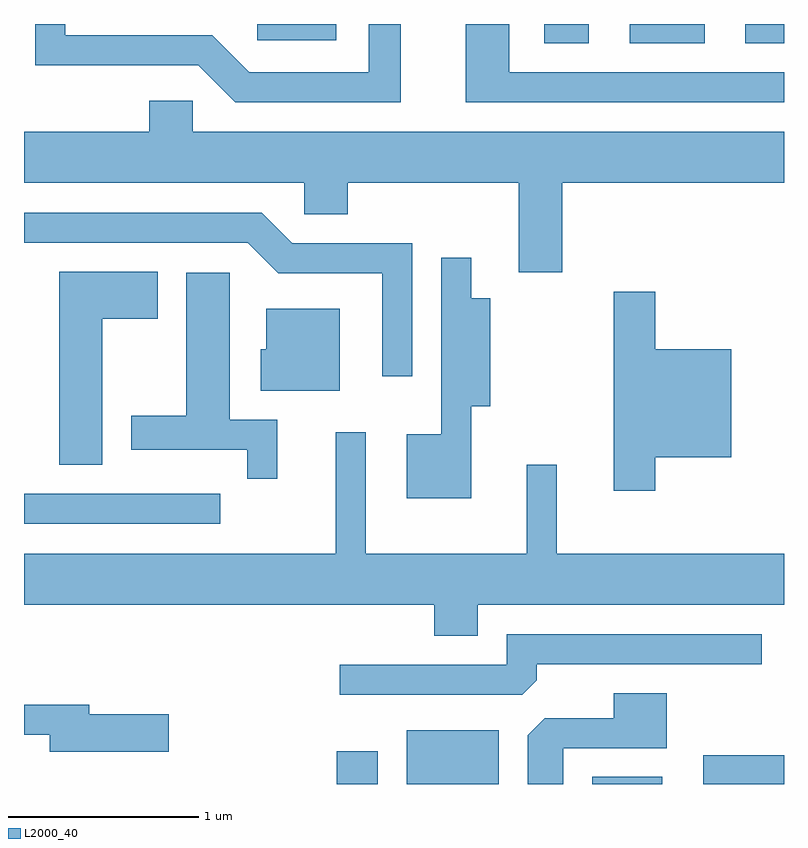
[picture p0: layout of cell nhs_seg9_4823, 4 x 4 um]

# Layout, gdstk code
import gdstk
lib = gdstk.Library(unit=1e-6, precision=1e-09)
def R(c, l, rs):  # rectangles x0, y0, x1, y1
    for r in rs: c.add(gdstk.rectangle(r[:2], r[2:], *l))
def P(c, l, *ps):  # polygons
    for p in ps: c.add(gdstk.Polygon(p, *l))
L2000_40 = (2000, 40)

nhs_seg9_4823 = lib.new_cell('nhs_seg9_4823')
R(nhs_seg9_4823, L2000_40, [(329.256,1986.432,329.474,1986.604), (329.626,1986.432,330.109,1986.714), (330.601,1986.432,330.969,1986.469), (331.186,1986.432,331.611,1986.584), (327.611,1987.801,328.643,1987.959), (330.348,1990.331,330.584,1990.432), (330.798,1990.331,331.194,1990.432), (331.406,1990.331,331.611,1990.432), (328.838,1990.346,329.254,1990.432)])
P(nhs_seg9_4823, L2000_40, [(331.611,1990.179),(330.164,1990.179),(330.164,1990.432),(329.936,1990.432),(329.936,1990.021),(331.611,1990.021)],
  [(329.594,1990.432),(329.426,1990.432),(329.426,1990.179),(328.797,1990.179),(328.602,1990.374),(327.829,1990.374),(327.829,1990.432),(327.671,1990.432),(327.671,1990.216),(328.529,1990.216),(328.724,1990.021),(329.594,1990.021)],
  [(330.444,1989.596),(331.611,1989.596),(331.611,1989.864),(328.499,1989.864),(328.499,1990.029),(328.271,1990.029),(328.271,1989.864),(327.611,1989.864),(327.611,1989.596),(329.086,1989.596),(329.086,1989.431),(329.314,1989.431),(329.314,1989.596),(330.216,1989.596),(330.216,1989.126),(330.444,1989.126)],
  [(329.654,1989.279),(329.022,1989.279),(328.862,1989.439),(327.611,1989.439),(327.611,1989.281),(328.789,1989.281),(328.949,1989.121),(329.496,1989.121),(329.496,1988.578),(329.654,1988.578)],
  [(329.964,1988.421),(330.064,1988.421),(330.064,1988.989),(329.964,1988.989),(329.964,1989.203),(329.806,1989.203),(329.806,1988.274),(329.626,1988.274),(329.626,1987.936),(329.964,1987.936)],
  [(328.024,1988.881),(328.314,1988.881),(328.314,1989.129),(327.796,1989.129),(327.796,1988.111),(328.024,1988.111)],
  [(328.944,1988.349),(328.694,1988.349),(328.694,1989.124),(328.466,1989.124),(328.466,1988.369),(328.176,1988.369),(328.176,1988.191),(328.786,1988.191),(328.786,1988.038),(328.944,1988.038)],
  [(330.934,1988.151),(331.334,1988.151),(331.334,1988.719),(330.934,1988.719),(330.934,1989.024),(330.716,1989.024),(330.716,1987.976),(330.934,1987.976)],
  [(329.274,1988.934),(328.886,1988.934),(328.886,1988.719),(328.856,1988.719),(328.856,1988.501),(329.274,1988.501)],
  [(329.999,1987.376),(331.611,1987.376),(331.611,1987.644),(330.414,1987.644),(330.414,1988.113),(330.256,1988.113),(330.256,1987.644),(329.409,1987.644),(329.409,1988.283),(329.251,1988.283),(329.251,1987.644),(327.611,1987.644),(327.611,1987.376),(329.771,1987.376),(329.771,1987.211),(329.999,1987.211)],
  [(330.309,1986.977),(330.309,1987.061),(331.493,1987.061),(331.493,1987.219),(330.151,1987.219),(330.151,1987.059),(329.273,1987.059),(329.273,1986.901),(330.234,1986.901)],
  [(330.449,1986.621),(330.994,1986.621),(330.994,1986.909),(330.716,1986.909),(330.716,1986.779),(330.352,1986.779),(330.261,1986.689),(330.261,1986.432),(330.449,1986.432)],
  [(328.374,1986.799),(327.954,1986.799),(327.954,1986.849),(327.611,1986.849),(327.611,1986.691),(327.746,1986.691),(327.746,1986.601),(328.374,1986.601)])

lib.write_gds('nhs_seg9_4823.gds')
